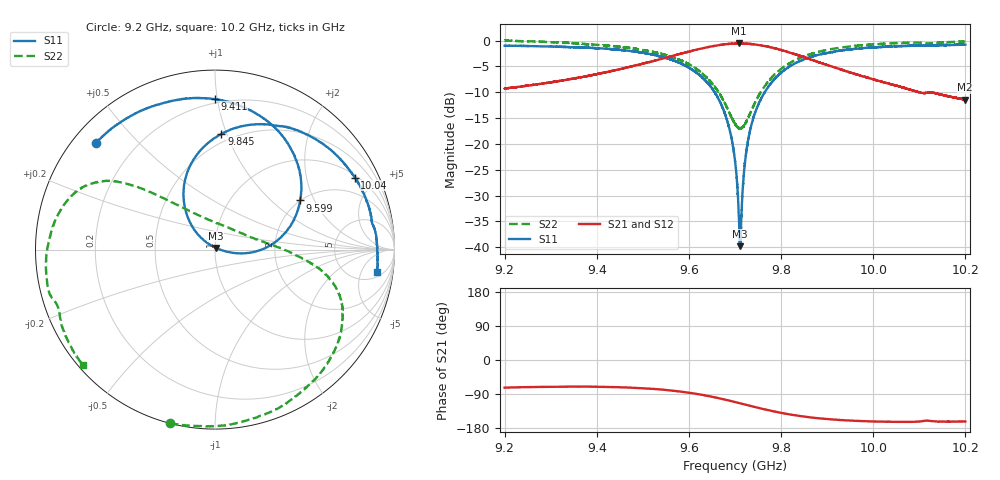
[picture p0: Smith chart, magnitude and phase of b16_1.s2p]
!Agilent Technologies,N5242A,MY51221714,A.09.90.19
!Agilent N5242A: A.09.90.19
!Date: Tuesday, March 26, 2024 16:53:48
!Correction: S11(Full 2 Port(1,2))
!S21(Full 2 Port(1,2))
!S12(Full 2 Port(1,2))
!S22(Full 2 Port(1,2))
!S2P File: Measurements: S11, S21, S12, S22:
# Hz S  dB  R 50
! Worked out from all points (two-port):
!   16001 points, 9.2 GHz to 10.2 GHz, reference 50 ohm
!   highest |S21| = -0.57 dB at 9.709 GHz (marker M1); lowest = -11.5 dB at 10.2 GHz (marker M2)
!   |S21| within 3 dB of the highest: 9.53941 GHz to 9.539496 GHz (85.32 kHz wide, 0.000894 % of centre); 9.54 GHz to 9.861 GHz (321.7 MHz wide, 3.32 % of centre)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
!   lowest |S11| = -39.8 dB at 9.711 GHz (marker M3), VSWR 1.02, Z = 50.4 + j0.945 ohm
!   |S11| at or under -10 dB: 9.656 GHz to 9.764 GHz (108.5 MHz wide, 1.12 % of centre); 9.764314 GHz to 9.764453 GHz (138.8 kHz wide, 0.00142 % of centre)
!   |S22| runs from -17.1 to 0.0 dB; largest |S21 - S12| = 0.012
!   S11 on the Smith chart (normalised r, x): 9.2 GHz: 0.07, +0.38; 9.411 GHz: 0.17, +0.98; 9.599 GHz: 1.99, +1.56; 9.845 GHz: 0.43, +0.96; 10.04 GHz: 1.10, +3.82; 10.2 GHz: 7, -10
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9.2e9  -1.01 138.3  -9.29 -73.0  -9.26 -73.7  -0.01 -104.4
9.277375e9  -1.11 121.6  -8.39 -71.1  -8.37 -71.8  -0.23 -83.3
9.366688e9  -1.34 101.1  -7.10 -70.4  -7.08 -71.0  -0.64 -59.9
9.410562e9  -1.53 90.1  -6.30 -70.8  -6.30 -71.5  -0.91 -48.8
9.533375e9  -2.98 54.3  -3.72 -77.3  -3.72 -77.9  -2.41 -21.7
9.599438e9  -5.23 30.0  -2.16 -86.2  -2.15 -86.8  -4.58 -10.4
9.666812e9  -11.74 -0.0  -0.87 -101.4  -0.87 -101.9  -10.37 6.1
9.687375e9  -16.90 -8.3  -0.66 -107.2  -0.64 -107.7  -13.87 21.4
9.7e9  -23.23 -10.3  -0.59 -111.0  -0.57 -111.5  -16.06 41.9
9.708625e9  -34.27 11.6  -0.57 -113.6  -0.55 -114.2  -16.90 61.4
9.71125e9  -39.79 66.2  -0.58 -114.4  -0.57 -115.0  -17.04 67.9
9.714125e9  -33.89 123.8  -0.59 -115.3  -0.57 -115.9  -16.98 75.1
9.726e9  -20.56 140.0  -0.63 -118.9  -0.61 -119.5  -15.44 101.7
9.747125e9  -13.11 131.4  -0.82 -125.2  -0.80 -125.9  -11.38 124.7
9.787375e9  -7.31 112.4  -1.53 -136.3  -1.53 -137.0  -6.44 138.1
9.845375e9  -3.80 86.8  -3.08 -148.6  -3.08 -149.1  -3.20 146.4
9.866688e9  -3.13 78.6  -3.73 -151.9  -3.74 -152.4  -2.56 149.4
9.935438e9  -1.86 55.6  -5.76 -158.9  -5.78 -159.5  -1.30 160.6
1.003338e10  -1.17 28.8  -8.35 -163.0  -8.33 -163.6  -0.57 -179.3
1.003938e10  -1.15 27.3  -8.48 -163.1  -8.48 -163.6  -0.54 -178.0
1.019956e10  -0.82 -7.9  -11.46 -162.2  -11.42 -162.8  -0.20 -138.9
1.02e10  -0.80 -8.0  -11.43 -162.2  -11.44 -162.8  -0.21 -138.7
